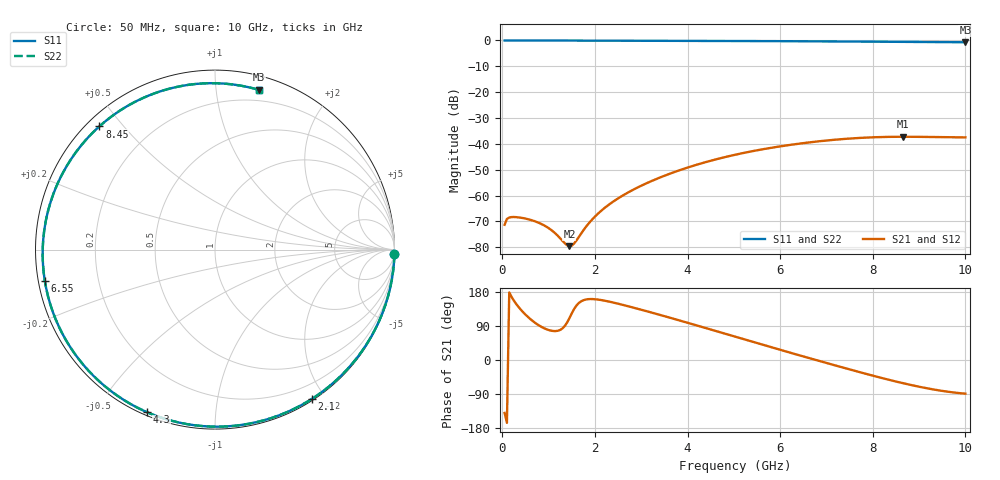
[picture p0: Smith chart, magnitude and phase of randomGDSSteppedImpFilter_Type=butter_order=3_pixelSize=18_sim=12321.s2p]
! freq	dB(S11)	phase(S11)	dB(S12)	phase(S12)
!  dB(S21)	phase(S21)	dB(S22)	phase(S22)
!S-par simulation data
#  GHz  S  DB  R 50
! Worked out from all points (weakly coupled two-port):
!   200 points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, 50 MHz to 10 GHz, reference 50 ohm
!   highest |S21| = -37.26 dB at 8.65 GHz (marker M1); lowest = -79.6 dB at 1.45 GHz (marker M2)
!   lowest |S11| = -0.7 dB at 10 GHz (marker M3), VSWR 24.93, Z = 5.43 + j65.2 ohm
!   |S11| at or under -10 dB: nowhere
!   |S22| runs from -0.7 to 0.0 dB; largest |S21 - S12| = 0
!   S11 on the Smith chart (normalised r, x): 50 MHz: 0, -82; 2.1 GHz: 0.02, -1.84; 4.3 GHz: 0.01, -0.66; 6.55 GHz: 0.02, -0.09; 8.45 GHz: 0.04, +0.43; 10 GHz: 0.11, +1.30
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0.05  -0.00 -1.4  -71.33 -139.7  -71.33 -139.7  -0.00 -1.4
0.1  -0.00 -2.8  -69.07 -165.8  -69.07 -165.8  -0.00 -2.8
0.2  -0.00 -5.6  -68.34 166.4  -68.34 166.4  -0.00 -5.6
0.65  -0.02 -18.0  -69.64 103.5  -69.64 103.5  -0.02 -18.0
1  -0.03 -27.6  -72.62 79.1  -72.62 79.1  -0.03 -27.6
1.45  -0.05 -39.8  -79.61 110.6  -79.61 110.6  -0.05 -39.8
1.55  -0.05 -42.5  -78.59 134.4  -78.59 134.4  -0.05 -42.5
1.75  -0.06 -47.8  -73.50 157.7  -73.50 157.7  -0.06 -47.8
2.1  -0.07 -57.1  -66.47 158.9  -66.47 158.9  -0.07 -57.1
2.65  -0.09 -71.4  -59.49 144.0  -59.49 144.0  -0.09 -71.4
3.4  -0.12 -90.4  -53.07 119.2  -53.07 119.2  -0.12 -90.4
4.3  -0.16 -112.8  -47.55 87.6  -47.55 87.6  -0.16 -112.8
5.05  -0.20 -131.3  -44.14 60.6  -44.14 60.6  -0.20 -131.3
5.85  -0.26 -151.4  -41.41 32.1  -41.41 32.1  -0.26 -151.4
6.55  -0.32 -169.7  -39.62 7.7  -39.62 7.7  -0.32 -169.7
6.7  -0.33 -173.8  -39.30 2.5  -39.30 2.5  -0.33 -173.7
7.55  -0.42 162.0  -37.90 -26.5  -37.90 -26.5  -0.42 162.0
8.35  -0.51 136.6  -37.31 -52.3  -37.31 -52.3  -0.51 136.6
8.45  -0.52 133.2  -37.28 -55.3  -37.28 -55.3  -0.52 133.2
8.65  -0.55 126.3  -37.26 -61.1  -37.26 -61.1  -0.55 126.3
9.35  -0.63 100.5  -37.40 -78.6  -37.40 -78.6  -0.63 100.5
10  -0.70 74.7  -37.51 -88.8  -37.51 -88.8  -0.70 74.7
